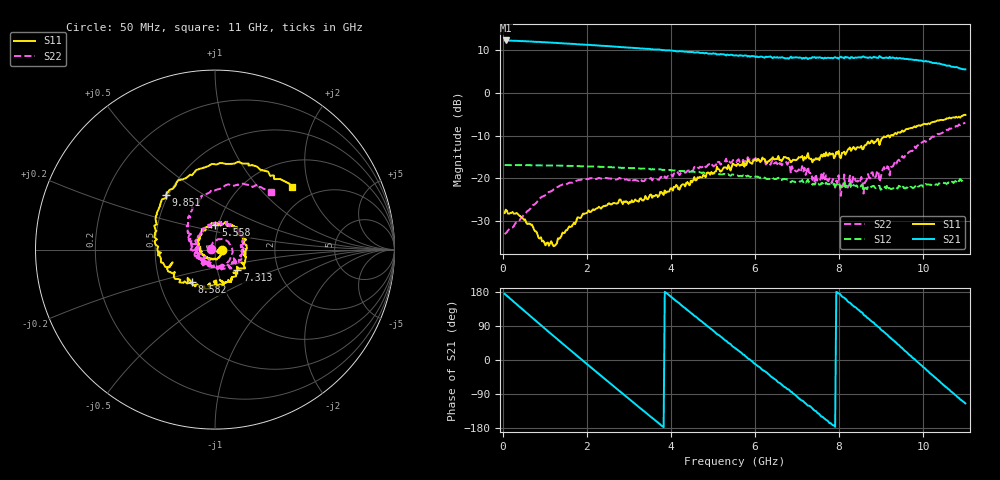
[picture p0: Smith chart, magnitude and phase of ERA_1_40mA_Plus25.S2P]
! Mini-Circuits
! S2P DATA File Format
! Type: MMIC Amplifier
! Model: ERA-1  Reference Data:RDF-960
! Note: All S Parameters are in dB deg format
! TEST CONDITIONS: INPUT POWER = -15dBm, Icc = 40mA, Vd = 3.43V @Temperature = +25degC
# MHz S DB R 50
!  FREQ  dB(S11)  PHS(S11)  dB(S21)  PHS(S21)  dB(S12)  PHS(S12)  dB(S22)  PHS(S22)
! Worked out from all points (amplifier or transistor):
!   401 points, 50 MHz to 11 GHz, reference 50 ohm
!   highest |S21| = 12.3 dB at 77 MHz (marker M1)
!   |S21| within 3 dB of that: start of sweep to 4.795 GHz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
!   unconditionally stable (mu >= 1): start of sweep to end of sweep
!   at 1.832 GHz: K = 1.22, MAG = 11.4 dB, |S12| = -17.1 dB
!   at 5.45 GHz: K = 1.72, MAG = 9.1 dB, |S12| = -19.1 dB
!   at 11 GHz: K = 1.65, MAG = 8.3 dB, |S12| = -20.6 dB
!   S11 on the Smith chart (normalised r, x): 50 MHz: 1.08, -0.01; 5.558 GHz: 0.97, +0.28; 7.313 GHz: 1.25, -0.29; 8.582 GHz: 0.73, -0.28; 9.851 GHz: 0.49, +0.35; 11 GHz: 1.55, +1.56
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50  -28.10 -5.3  12.25 174.6  -16.87 -4.0  -33.06 168.1
77  -27.33 -2.2  12.28 172.1  -16.88 -6.0  -32.82 164.0
536  -29.60 -33.3  12.11 127.8  -16.91 -39.7  -28.28 109.7
941  -34.73 -38.9  11.88 89.1  -16.96 -69.7  -24.27 72.6
1454  -32.82 -6.0  11.59 40.9  -17.04 -107.7  -21.34 30.8
1886  -28.79 -23.2  11.34 0.7  -17.16 -139.8  -20.23 -5.0
2777  -24.95 -80.4  10.73 -81.7  -17.51 153.6  -19.88 -78.9
3182  -25.18 -106.2  10.49 -118.7  -17.66 123.7  -20.49 -116.8
3722  -24.05 -136.8  10.17 -167.7  -17.87 83.7  -20.31 -166.8
4667  -19.91 159.3  9.47 107.4  -18.50 13.6  -17.61 115.0
5531  -16.88 92.2  8.78 31.1  -19.21 -51.1  -15.87 54.4
5558  -17.09 88.9  8.81 29.2  -19.34 -52.5  -16.18 51.5
5990  -15.77 60.9  8.59 -9.3  -19.61 -83.4  -15.67 29.4
6584  -15.74 14.7  8.31 -60.0  -20.30 -128.3  -16.60 -13.0
7313  -15.43 -42.4  8.14 -122.0  -21.03 175.1  -18.81 -72.7
7367  -16.23 -38.1  8.37 -127.7  -21.50 173.8  -20.34 -69.6
7988  -13.58 -86.0  8.00 175.6  -20.96 132.3  -19.27 -106.8
8582  -13.03 -125.4  8.54 119.7  -22.98 88.0  -23.56 -143.2
9203  -10.41 -176.8  8.45 60.3  -22.32 44.3  -19.30 162.4
9851  -7.75 132.0  7.67 -3.9  -22.13 7.0  -12.39 127.1
10436  -6.31 85.0  6.74 -61.5  -21.08 -34.3  -9.43 86.1
11003  -5.13 39.2  5.52 -114.6  -20.58 -73.6  -7.02 45.8
